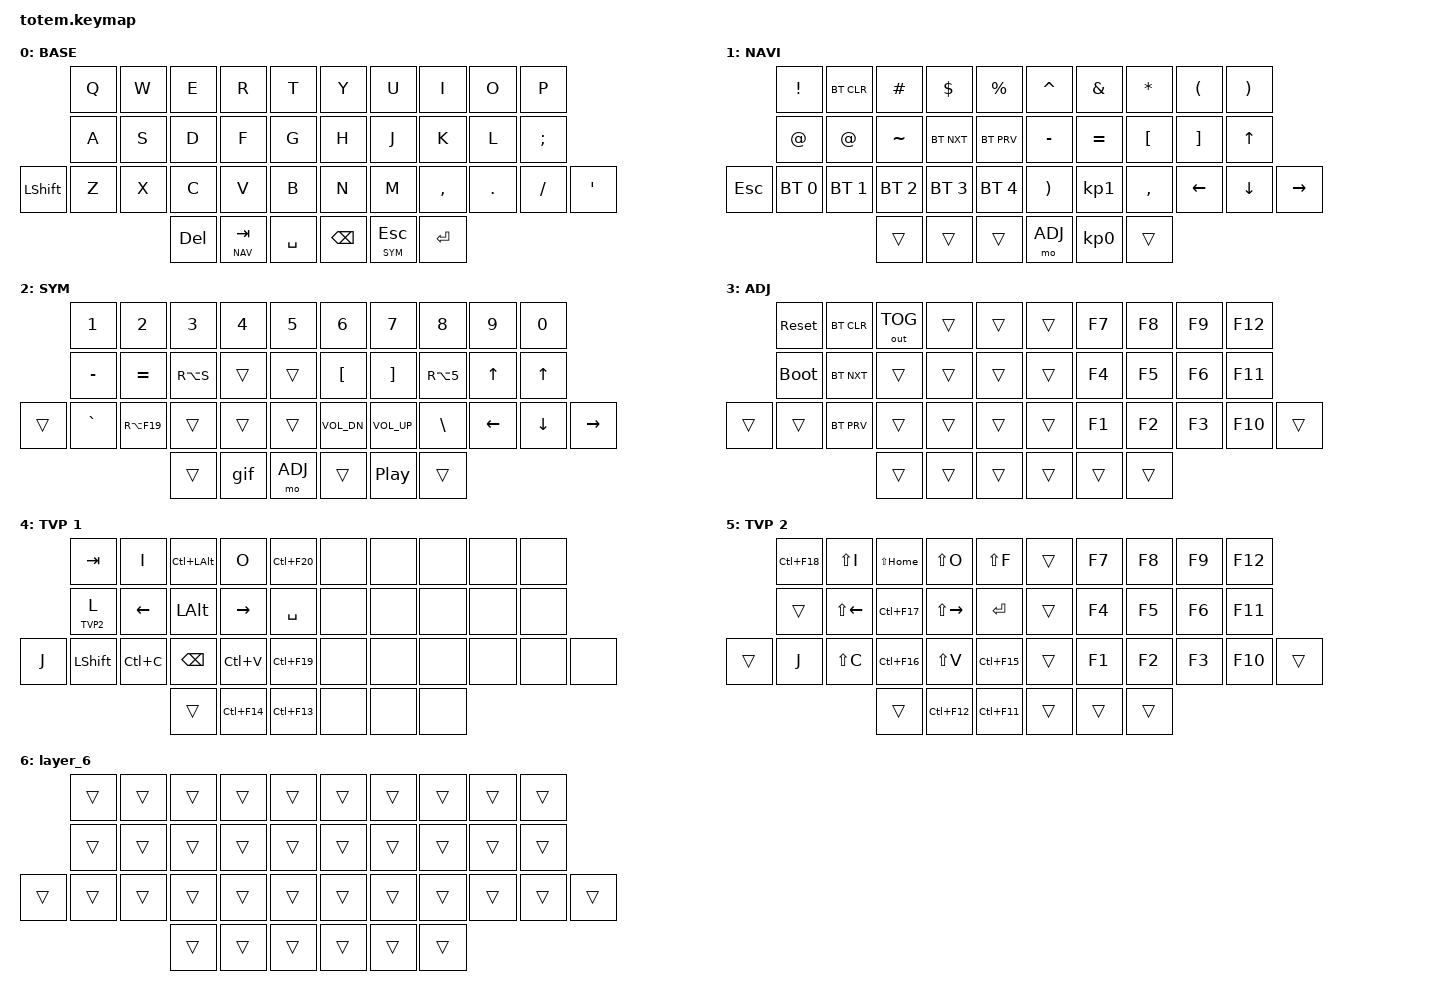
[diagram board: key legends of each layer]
//
//                                                        ▀▀▀▀▀     ▀▀▀▀▀          ▀▀█▀▀
//                                                        ▄▀▀▀▄  ▄  ▄▀▀▀▄  ▄  ▄▀▀▀▄  █  ▄▀▀▀▄
//                                                        █   █  █  █   █  █  █   █  █  █   █
//                                                         ▀▀▀   █   ▀▀▀   █   ▀▀▀   ▀   ▀▀▀
//                                                               █      ▄▄▄█▄▄▄    █   █  
//                                                               ▀      █  █  █     █▄█
//                                                             ▀▀▀▀▀    █  █  █      ▀
//                                                                      ▀  ▀  ▀
//
// ▄▄▄▄▄▄▄▄▄▄▄▄▄▄▄▄▄▄▄▄▄▄▄▄▄▄▄▄▄▄▄▄▄▄▄▄▄▄▄▄▄▄▄▄▄▄▄▄▄▄▄▄▄▄▄▄▄▄▄▄▄▄▄▄▄▄▄▄▄▄▄▄▄▄▄▄▄▄▄▄▄▄▄▄▄▄▄▄▄▄▄▄▄▄▄▄▄▄▄▄▄▄▄▄▄▄▄▄▄▄▄▄▄▄▄▄▄▄▄▄▄▄▄▄▄▄▄▄▄▄▄▄▄▄▄▄▄▄▄▄▄▄▄▄▄▄▄▄▄

#include <behaviors.dtsi>
#include <dt-bindings/zmk/bt.h>
#include <dt-bindings/zmk/keys.h>
#include <dt-bindings/zmk/outputs.h>

#define BASE 0
#define NAV  1
#define SYM  2
#define ADJ  3
#define TVP1 4
#define TVP2 5

&mt {
    quick-tap-ms = <100>;
    global-quick-tap;
    flavor = "tap-preferred";
    tapping-term-ms = <170>;
};

/ {
    combos {
        compatible = "zmk,combos";

        combo_esc {
            timeout-ms = <50>;
            key-positions = <0 1>;
            bindings = <&kp ESC>;
        };

        combo_tvp {
            timeout-ms = <100>;
            key-positions = <11 12 13>;
            bindings = <&tog TVP1>;
        };
    };

    macros {
        gif: gif {
            label = "giphy";
            compatible = "zmk,behavior-macro";
            #binding-cells = <0>;
            bindings =
                <&macro_press>,
                <&kp LSHFT>,
                <&macro_tap>,
                <&kp N2>,
                <&macro_release>,
                <&kp LSHFT>,
                <&macro_tap>,
                <&kp G &kp I &kp F>;
        };
    };

    keymap {
        compatible = "zmk,keymap";

        // ▄▄▄▄▄▄▄▄▄▄▄▄▄▄▄▄▄▄▄▄▄▄▄▄▄▄▄▄▄▄▄▄▄▄▄▄▄▄▄▄▄▄▄▄▄▄▄▄▄▄▄▄▄▄▄▄▄▄▄▄▄▄▄▄▄▄▄▄▄▄▄▄▄▄▄▄▄▄▄▄▄▄▄▄▄▄▄▄▄▄▄▄▄▄▄▄▄▄▄▄▄▄▄▄▄▄▄▄▄▄▄▄▄▄▄▄▄▄▄▄▄▄▄▄▄▄▄▄▄▄▄▄▄▄▄▄▄▄▄▄▄▄▄▄▄▄▄▄▄

        base_layer {
            // ┏━━━━━━━━━━━━━━━━━━━━━━━━━━━━━━━━━━━━━━━┓

            label = "BASE";

            // ┗━━━━━━━━━━━━━━━━━━━━━━━━━━━━━━━━━━━━━━━┛
            //             ┏━━━━━━━━━━━┳━━━━━━━━━━━┳━━━━━━━━━━━┳━━━━━━━━━━━┳━━━━━━━━━━━┓   ┏━━━━━━━━━━━┳━━━━━━━━━━━┳━━━━━━━━━━━┳━━━━━━━━━━━┳━━━━━━━━━━━┓
            //             ┃     Q     ┃     W     ┃     F     ┃     P     ┃     G     ┃   ┃     J     ┃     L     ┃     U     ┃     Y     ┃     ;     ┃
            //             ┣━━━━━━━━━━━╋━━━━━━━━━━━╋━━━━━━━━━━━╋━━━━━━━━━━━╋━━━━━━━━━━━┫   ┣━━━━━━━━━━━╋━━━━━━━━━━━╋━━━━━━━━━━━╋━━━━━━━━━━━╋━━━━━━━━━━━┫
            //             ┃     A     ┃     R     ┃     S     ┃     T     ┃     D     ┃   ┃     H     ┃     N     ┃     E     ┃     I     ┃     O     ┃
            // ┏━━━━━━━━━━━╋━━━━━━━━━━━╋━━━━━━━━━━━╋━━━━━━━━━━━╋━━━━━━━━━━━╋━━━━━━━━━━━┫   ┣━━━━━━━━━━━╋━━━━━━━━━━━╋━━━━━━━━━━━╋━━━━━━━━━━━╋━━━━━━━━━━━╋━━━━━━━━━━━┓
            // ┃     Q     ┃     Z     ┃     X     ┃     C     ┃     V     ┃     B     ┃   ┃     K     ┃     M     ┃     ,     ┃     .     ┃     /     ┃     \     ┃
            // ┗━━━━━━━━━━━┻━━━━━━━━━━━┻━━━━━━━━━━━╋━━━━━━━━━━━╋━━━━━━━━━━━╋━━━━━━━━━━━┫   ┣━━━━━━━━━━━╋━━━━━━━━━━━╋━━━━━━━━━━━╋━━━━━━━━━━━┻━━━━━━━━━━━┻━━━━━━━━━━━┛
            //                                     ┃    DEL    ┃    TAB    ┃    SPC    ┃   ┃   ENTER   ┃           ┃   BSPC    ┃
            //                                     ┗━━━━━━━━━━━┻━━━━━━━━━━━┻━━━━━━━━━━━┛   ┗━━━━━━━━━━━┻━━━━━━━━━━━┻━━━━━━━━━━━┛

            bindings = <
                &kp Q  &kp W  &kp E    &kp R        &kp T        &kp Y          &kp U        &kp I      &kp O       &kp P
                &kp A  &kp S  &kp D    &kp F        &kp G        &kp H          &kp J        &kp K      &kp L       &kp SEMICOLON
&kp LEFT_SHIFT  &kp Z  &kp X  &kp C    &kp V        &kp B        &kp N          &kp M        &kp COMMA  &kp PERIOD  &kp SLASH      &kp SQT
                              &kp DEL  &lt NAV TAB  &kp SPACE    &kp BACKSPACE  &lt SYM ESC  &kp ENTER
            >;
        };

        // ▄▄▄▄▄▄▄▄▄▄▄▄▄▄▄▄▄▄▄▄▄▄▄▄▄▄▄▄▄▄▄▄▄▄▄▄▄▄▄▄▄▄▄▄▄▄▄▄▄▄▄▄▄▄▄▄▄▄▄▄▄▄▄▄▄▄▄▄▄▄▄▄▄▄▄▄▄▄▄▄▄▄▄▄▄▄▄▄▄▄▄▄▄▄▄▄▄▄▄▄▄▄▄▄▄▄▄▄▄▄▄▄▄▄▄▄▄▄▄▄▄▄▄▄▄▄▄▄▄▄▄▄▄▄▄▄▄▄▄▄▄▄▄▄▄▄▄▄▄

        nav_layer {
            // ┏━━━━━━━━━━━━━━━━━━━━━━━━━━━━━━━━━━━━━━━┓

            label = "NAVI";

            // ┗━━━━━━━━━━━━━━━━━━━━━━━━━━━━━━━━━━━━━━━┛
            //             ┏━━━━━━━━━━━┳━━━━━━━━━━━┳━━━━━━━━━━━┳━━━━━━━━━━━┳━━━━━━━━━━━┓   ┏━━━━━━━━━━━┳━━━━━━━━━━━┳━━━━━━━━━━━┳━━━━━━━━━━━┳━━━━━━━━━━━┓
            //             ┃           ┃           ┃     UP    ┃           ┃     {     ┃   ┃     }     ┃     7     ┃     8     ┃     9     ┃     +     ┃
            //             ┣━━━━━━━━━━━╋━━━━━━━━━━━╋━━━━━━━━━━━╋━━━━━━━━━━━╋━━━━━━━━━━━┫   ┣━━━━━━━━━━━╋━━━━━━━━━━━╋━━━━━━━━━━━╋━━━━━━━━━━━╋━━━━━━━━━━━┫
            //             ┃   SHIFT   ┃   LEFT    ┃    DOWN   ┃   RIGHT   ┃     [     ┃   ┃     ]     ┃     4     ┃     5     ┃     6     ┃     -     ┃
            // ┏━━━━━━━━━━━╋━━━━━━━━━━━╋━━━━━━━━━━━╋━━━━━━━━━━━╋━━━━━━━━━━━╋━━━━━━━━━━━┫   ┣━━━━━━━━━━━╋━━━━━━━━━━━╋━━━━━━━━━━━╋━━━━━━━━━━━╋━━━━━━━━━━━╋━━━━━━━━━━━┓
            // ┃           ┃           ┃   P UP    ┃  C LOCK   ┃  P DOWN   ┃     (     ┃   ┃     )     ┃     1     ┃     2     ┃     3     ┃     *     ┃           ┃
            // ┗━━━━━━━━━━━┻━━━━━━━━━━━┻━━━━━━━━━━━╋━━━━━━━━━━━╋━━━━━━━━━━━╋━━━━━━━━━━━┫   ┣━━━━━━━━━━━╋━━━━━━━━━━━╋━━━━━━━━━━━╋━━━━━━━━━━━┻━━━━━━━━━━━┻━━━━━━━━━━━┛
            //                                     ┃           ┃    TAB    ┃    SPC    ┃   ┃    DEL    ┃     0     ┃           ┃
            //                                     ┗━━━━━━━━━━━┻━━━━━━━━━━━┻━━━━━━━━━━━┛   ┗━━━━━━━━━━━┻━━━━━━━━━━━┻━━━━━━━━━━━┛

            bindings = <
            &kp EXCLAMATION  &bt BT_CLR    &kp HASH      &kp DOLLAR    &kp PERCENT     &kp CARET  &kp AMPERSAND  &kp ASTERISK      &kp LEFT_PARENTHESIS  &kp RIGHT_PARENTHESIS
            &kp AT_SIGN      &kp AT_SIGN   &kp TILDE     &bt BT_NXT    &bt BT_PRV      &kp MINUS  &kp EQUAL      &kp LEFT_BRACKET  &kp RIGHT_BRACKET     &kp UP_ARROW
&kp ESCAPE  &bt BT_SEL 0     &bt BT_SEL 1  &bt BT_SEL 2  &bt BT_SEL 3  &bt BT_SEL 4    &kp RPAR   &kp KP_N1      &kp COMMA         &kp LEFT_ARROW        &kp DOWN_ARROW         &kp RIGHT_ARROW
                                           &trans        &trans        &trans          &mo ADJ    &kp KP_N0      &trans
            >;
        };

        // ▄▄▄▄▄▄▄▄▄▄▄▄▄▄▄▄▄▄▄▄▄▄▄▄▄▄▄▄▄▄▄▄▄▄▄▄▄▄▄▄▄▄▄▄▄▄▄▄▄▄▄▄▄▄▄▄▄▄▄▄▄▄▄▄▄▄▄▄▄▄▄▄▄▄▄▄▄▄▄▄▄▄▄▄▄▄▄▄▄▄▄▄▄▄▄▄▄▄▄▄▄▄▄▄▄▄▄▄▄▄▄▄▄▄▄▄▄▄▄▄▄▄▄▄▄▄▄▄▄▄▄▄▄▄▄▄▄▄▄▄▄▄▄▄▄▄▄▄▄

        sim_layer {
            // ┏━━━━━━━━━━━━━━━━━━━━━━━━━━━━━━━━━━━━━━━┓

            label = "SYM";

            // ┗━━━━━━━━━━━━━━━━━━━━━━━━━━━━━━━━━━━━━━━┛
            //             ┏━━━━━━━━━━━┳━━━━━━━━━━━┳━━━━━━━━━━━┳━━━━━━━━━━━┳━━━━━━━━━━━┓   ┏━━━━━━━━━━━┳━━━━━━━━━━━┳━━━━━━━━━━━┳━━━━━━━━━━━┳━━━━━━━━━━━┓
            //             ┃     !     ┃     @     ┃     #     ┃     $     ┃     %     ┃   ┃     ˆ     ┃     &     ┃     Ü     ┃     '     ┃     "     ┃
            //             ┣━━━━━━━━━━━╋━━━━━━━━━━━╋━━━━━━━━━━━╋━━━━━━━━━━━╋━━━━━━━━━━━┫   ┣━━━━━━━━━━━╋━━━━━━━━━━━╋━━━━━━━━━━━╋━━━━━━━━━━━╋━━━━━━━━━━━┫
            //             ┃     Ä     ┃           ┃    SZ     ┃           ┃           ┃   ┃   MUTE    ┃   YEN     ┃   EURO    ┃  POUND    ┃     Ö     ┃
            // ┏━━━━━━━━━━━╋━━━━━━━━━━━╋━━━━━━━━━━━╋━━━━━━━━━━━╋━━━━━━━━━━━╋━━━━━━━━━━━┫   ┣━━━━━━━━━━━╋━━━━━━━━━━━╋━━━━━━━━━━━╋━━━━━━━━━━━╋━━━━━━━━━━━╋━━━━━━━━━━━┓
            // ┃           ┃  EMAIL1   ┃  EMAIL2   ┃           ┃           ┃           ┃   ┃   VOL-    ┃   VOL+    ┃   LAST    ┃   NEXT    ┃     \     ┃           ┃
            // ┗━━━━━━━━━━━┻━━━━━━━━━━━┻━━━━━━━━━━━╋━━━━━━━━━━━╋━━━━━━━━━━━╋━━━━━━━━━━━┫   ┣━━━━━━━━━━━╋━━━━━━━━━━━╋━━━━━━━━━━━╋━━━━━━━━━━━┻━━━━━━━━━━━┻━━━━━━━━━━━┛
            //                                     ┃           ┃    GIF    ┃    ADJ    ┃   ┃           ┃           ┃           ┃
            //                                     ┗━━━━━━━━━━━┻━━━━━━━━━━━┻━━━━━━━━━━━┛   ┗━━━━━━━━━━━┻━━━━━━━━━━━┻━━━━━━━━━━━┛

            bindings = <
        &kp NUMBER_1  &kp NUMBER_2  &kp NUMBER_3  &kp NUMBER_4  &kp N5     &kp NUMBER_6      &kp N7             &kp N8         &kp N9          &kp N0
        &kp MINUS     &kp EQUAL     &kp RA(S)     &trans        &trans     &kp LEFT_BRACKET  &kp RIGHT_BRACKET  &kp RA(N5)     &kp UP          &kp UP_ARROW
&trans  &kp GRAVE     &kp RA(F19)   &trans        &trans        &trans     &kp C_VOL_DN      &kp C_VOL_UP       &kp BACKSLASH  &kp LEFT_ARROW  &kp DOWN_ARROW  &kp RIGHT_ARROW
                                    &trans        &gif          &mo ADJ    &trans            &kp C_PP           &trans
            >;
        };

        // ▄▄▄▄▄▄▄▄▄▄▄▄▄▄▄▄▄▄▄▄▄▄▄▄▄▄▄▄▄▄▄▄▄▄▄▄▄▄▄▄▄▄▄▄▄▄▄▄▄▄▄▄▄▄▄▄▄▄▄▄▄▄▄▄▄▄▄▄▄▄▄▄▄▄▄▄▄▄▄▄▄▄▄▄▄▄▄▄▄▄▄▄▄▄▄▄▄▄▄▄▄▄▄▄▄▄▄▄▄▄▄▄▄▄▄▄▄▄▄▄▄▄▄▄▄▄▄▄▄▄▄▄▄▄▄▄▄▄▄▄▄▄▄▄▄▄▄▄▄

        adjust_layer {
            // ┏━━━━━━━━━━━━━━━━━━━━━━━━━━━━━━━━━━━━━━━┓

            label = "ADJ";

            // ┗━━━━━━━━━━━━━━━━━━━━━━━━━━━━━━━━━━━━━━━┛
            //             ┏━━━━━━━━━━━┳━━━━━━━━━━━┳━━━━━━━━━━━┳━━━━━━━━━━━┳━━━━━━━━━━━┓   ┏━━━━━━━━━━━┳━━━━━━━━━━━┳━━━━━━━━━━━┳━━━━━━━━━━━┳━━━━━━━━━━━┓
            //             ┃   RESET   ┃ BT CLEAR  ┃  OUT TOG  ┃           ┃           ┃   ┃           ┃    F7     ┃    F8     ┃    F9     ┃    F12    ┃
            //             ┣━━━━━━━━━━━╋━━━━━━━━━━━╋━━━━━━━━━━━╋━━━━━━━━━━━╋━━━━━━━━━━━┫   ┣━━━━━━━━━━━╋━━━━━━━━━━━╋━━━━━━━━━━━╋━━━━━━━━━━━╋━━━━━━━━━━━┫
            //             ┃ BOOTLOAD  ┃ BT NEXT   ┃           ┃           ┃           ┃   ┃           ┃    F4     ┃    F5     ┃    F6     ┃    F11    ┃
            // ┏━━━━━━━━━━━╋━━━━━━━━━━━╋━━━━━━━━━━━╋━━━━━━━━━━━╋━━━━━━━━━━━╋━━━━━━━━━━━┫   ┣━━━━━━━━━━━╋━━━━━━━━━━━╋━━━━━━━━━━━╋━━━━━━━━━━━╋━━━━━━━━━━━╋━━━━━━━━━━━┓
            // ┃           ┃           ┃ BT PREV   ┃           ┃           ┃           ┃   ┃           ┃    F1     ┃    F2     ┃    F3     ┃    F10    ┃           ┃
            // ┗━━━━━━━━━━━┻━━━━━━━━━━━┻━━━━━━━━━━━╋━━━━━━━━━━━╋━━━━━━━━━━━╋━━━━━━━━━━━┫   ┣━━━━━━━━━━━╋━━━━━━━━━━━╋━━━━━━━━━━━╋━━━━━━━━━━━┻━━━━━━━━━━━┻━━━━━━━━━━━┛
            //                                     ┃           ┃           ┃           ┃   ┃           ┃           ┃           ┃
            //                                     ┗━━━━━━━━━━━┻━━━━━━━━━━━┻━━━━━━━━━━━┛   ┗━━━━━━━━━━━┻━━━━━━━━━━━┻━━━━━━━━━━━┛

            bindings = <
        &sys_reset   &bt BT_CLR  &out OUT_TOG  &trans  &trans    &trans  &kp F7  &kp F8  &kp F9  &kp F12
        &bootloader  &bt BT_NXT  &trans        &trans  &trans    &trans  &kp F4  &kp F5  &kp F6  &kp F11
&trans  &trans       &bt BT_PRV  &trans        &trans  &trans    &trans  &kp F1  &kp F2  &kp F3  &kp F10  &trans
                                 &trans        &trans  &trans    &trans  &trans  &trans
            >;
        };

        // ▄▄▄▄▄▄▄▄▄▄▄▄▄▄▄▄▄▄▄▄▄▄▄▄▄▄▄▄▄▄▄▄▄▄▄▄▄▄▄▄▄▄▄▄▄▄▄▄▄▄▄▄▄▄▄▄▄▄▄▄▄▄▄▄▄▄▄▄▄▄▄▄▄▄▄▄▄▄▄▄▄▄▄▄▄▄▄▄▄▄▄▄▄▄▄▄▄▄▄▄▄▄▄▄▄▄▄▄▄▄▄▄▄▄▄▄▄▄▄▄▄▄▄▄▄▄▄▄▄▄▄▄▄▄▄▄▄▄▄▄▄▄▄▄▄▄▄▄▄

        tvp1_layer {
            // ┏━━━━━━━━━━━━━━━━━━━━━━━━━━━━━━━━━━━━━━━┓

            label = "TVP 1";

            // ┗━━━━━━━━━━━━━━━━━━━━━━━━━━━━━━━━━━━━━━━┛
            //             ┏━━━━━━━━━━━┳━━━━━━━━━━━┳━━━━━━━━━━━┳━━━━━━━━━━━┳━━━━━━━━━━━┓   ┏━━━━━━━━━━━┳━━━━━━━━━━━┳━━━━━━━━━━━┳━━━━━━━━━━━┳━━━━━━━━━━━┓
            //             ┃ NEXT FILE ┃ MARK IN   ┃ ROTATE    ┃ MARK OUT  ┃ SHOW SNAP ┃   ┃           ┃           ┃           ┃           ┃           ┃
            //             ┣━━━━━━━━━━━╋━━━━━━━━━━━╋━━━━━━━━━━━╋━━━━━━━━━━━╋━━━━━━━━━━━┫   ┣━━━━━━━━━━━╋━━━━━━━━━━━╋━━━━━━━━━━━╋━━━━━━━━━━━╋━━━━━━━━━━━┫
            //             ┃ TVP II    ┃ LEFT      ┃ PAN       ┃ RIGHT     ┃ PLAY/FLIP ┃   ┃           ┃           ┃           ┃           ┃           ┃
            // ┏━━━━━━━━━━━╋━━━━━━━━━━━╋━━━━━━━━━━━╋━━━━━━━━━━━╋━━━━━━━━━━━╋━━━━━━━━━━━┫   ┣━━━━━━━━━━━╋━━━━━━━━━━━╋━━━━━━━━━━━╋━━━━━━━━━━━╋━━━━━━━━━━━╋━━━━━━━━━━━┓
            // ┃ FULLSCR   ┃ SHIFT     ┃ COPY      ┃ DELETE    ┃ PASTE     ┃ IMG MARK  ┃   ┃           ┃           ┃           ┃           ┃           ┃           ┃
            // ┗━━━━━━━━━━━┻━━━━━━━━━━━┻━━━━━━━━━━━╋━━━━━━━━━━━╋━━━━━━━━━━━╋━━━━━━━━━━━┫   ┣━━━━━━━━━━━╋━━━━━━━━━━━╋━━━━━━━━━━━╋━━━━━━━━━━━┻━━━━━━━━━━━┻━━━━━━━━━━━┛
            //                                     ┃           ┃ UNDO/SAVE ┃  SEL/MOV  ┃   ┃           ┃           ┃           ┃
            //                                     ┗━━━━━━━━━━━┻━━━━━━━━━━━┻━━━━━━━━━━━┛   ┗━━━━━━━━━━━┻━━━━━━━━━━━┻━━━━━━━━━━━┛

            bindings = <
       &kp TAB     &kp I      &kp LC(LALT)  &kp O        &kp LC(F20)    &none  &none  &none  &none  &none
       &lt TVP2 L  &kp LEFT   &kp LALT      &kp RIGHT    &kp SPACE      &none  &none  &none  &none  &none
&kp J  &kp LSHFT   &kp LC(C)  &kp BSPC      &kp LC(V)    &kp LC(F19)    &none  &none  &none  &none  &none  &none
                              &trans        &kp LC(F14)  &kp LC(F13)    &none  &none  &none
            >;
        };

        // ▄▄▄▄▄▄▄▄▄▄▄▄▄▄▄▄▄▄▄▄▄▄▄▄▄▄▄▄▄▄▄▄▄▄▄▄▄▄▄▄▄▄▄▄▄▄▄▄▄▄▄▄▄▄▄▄▄▄▄▄▄▄▄▄▄▄▄▄▄▄▄▄▄▄▄▄▄▄▄▄▄▄▄▄▄▄▄▄▄▄▄▄▄▄▄▄▄▄▄▄▄▄▄▄▄▄▄▄▄▄▄▄▄▄▄▄▄▄▄▄▄▄▄▄▄▄▄▄▄▄▄▄▄▄▄▄▄▄▄▄▄▄▄▄▄▄▄▄▄

        tvp2_layer {
            // ┏━━━━━━━━━━━━━━━━━━━━━━━━━━━━━━━━━━━━━━━┓

            label = "TVP 2";

            // ┗━━━━━━━━━━━━━━━━━━━━━━━━━━━━━━━━━━━━━━━┛
            //             ┏━━━━━━━━━━━┳━━━━━━━━━━━┳━━━━━━━━━━━┳━━━━━━━━━━━┳━━━━━━━━━━━┓   ┏━━━━━━━━━━━┳━━━━━━━━━━━┳━━━━━━━━━━━┳━━━━━━━━━━━┳━━━━━━━━━━━┓
            //             ┃ SOLO      ┃ TOGGLE IN ┃ RESET ROT ┃ TOGGLE OUT┃ TAKE SNAP ┃   ┃           ┃           ┃           ┃           ┃           ┃
            //             ┣━━━━━━━━━━━╋━━━━━━━━━━━╋━━━━━━━━━━━╋━━━━━━━━━━━╋━━━━━━━━━━━┫   ┣━━━━━━━━━━━╋━━━━━━━━━━━╋━━━━━━━━━━━╋━━━━━━━━━━━╋━━━━━━━━━━━┫
            //             ┃ ---       ┃ LAST KEY  ┃ NEW KEY   ┃ NEXT KEY  ┃ ENTER     ┃   ┃           ┃           ┃           ┃           ┃           ┃
            // ┏━━━━━━━━━━━╋━━━━━━━━━━━╋━━━━━━━━━━━╋━━━━━━━━━━━╋━━━━━━━━━━━╋━━━━━━━━━━━┫   ┣━━━━━━━━━━━╋━━━━━━━━━━━╋━━━━━━━━━━━╋━━━━━━━━━━━╋━━━━━━━━━━━╋━━━━━━━━━━━┓
            // ┃           ┃ FULLSCR   ┃ CPY2BRUSH ┃ DEL HEAD  ┃ PSTinPLACE┃ BOOK MARK ┃   ┃           ┃           ┃           ┃           ┃           ┃           ┃
            // ┗━━━━━━━━━━━┻━━━━━━━━━━━┻━━━━━━━━━━━╋━━━━━━━━━━━╋━━━━━━━━━━━╋━━━━━━━━━━━┫   ┣━━━━━━━━━━━╋━━━━━━━━━━━╋━━━━━━━━━━━╋━━━━━━━━━━━┻━━━━━━━━━━━┻━━━━━━━━━━━┛
            //                                     ┃           ┃ REDO/SAV1 ┃TRANS/WARP ┃   ┃           ┃           ┃           ┃
            //                                     ┗━━━━━━━━━━━┻━━━━━━━━━━━┻━━━━━━━━━━━┛   ┗━━━━━━━━━━━┻━━━━━━━━━━━┻━━━━━━━━━━━┛

            bindings = <
        &kp LC(F18)  &kp LS(I)     &kp LS(HOME)  &kp LS(O)      &kp LS(F)      &trans  &kp F7  &kp F8  &kp F9  &kp F12
        &trans       &kp LS(LEFT)  &kp LC(F17)   &kp LS(RIGHT)  &kp RET        &trans  &kp F4  &kp F5  &kp F6  &kp F11
&trans  &kp J        &kp LS(C)     &kp LC(F16)   &kp LS(V)      &kp LC(F15)    &trans  &kp F1  &kp F2  &kp F3  &kp F10  &trans
                                   &trans        &kp LC(F12)    &kp LC(F11)    &trans  &trans  &trans
            >;
        };

        layer_6 {
            bindings = <
        &trans  &trans  &trans  &trans  &trans    &trans  &trans  &trans  &trans  &trans
        &trans  &trans  &trans  &trans  &trans    &trans  &trans  &trans  &trans  &trans
&trans  &trans  &trans  &trans  &trans  &trans    &trans  &trans  &trans  &trans  &trans  &trans
                        &trans  &trans  &trans    &trans  &trans  &trans
            >;
        };
    };
};
